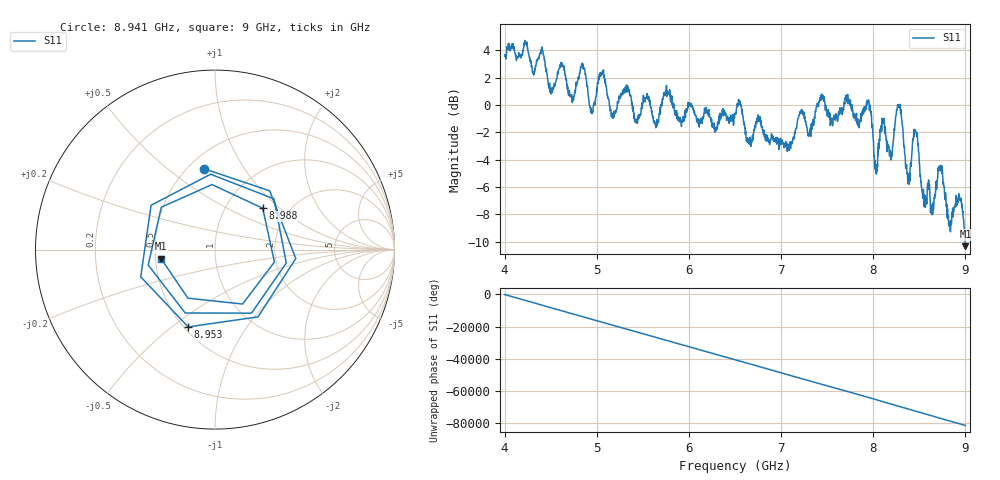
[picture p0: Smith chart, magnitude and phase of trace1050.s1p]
! Created with skrf 1.8.0 (http://scikit-rf.org).
# Hz S RI R 50.0
!freq ReS11 ImS11
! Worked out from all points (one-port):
!   1601 points, 4 GHz to 9 GHz, reference 50 ohm
!   lowest |S11| = -10.3 dB at 9 GHz (marker M1), VSWR 1.87, Z = 26.8 - j3 ohm
!   |S11| at or under -10 dB: 8.996344 GHz to end of sweep
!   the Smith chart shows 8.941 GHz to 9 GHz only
!   S11 on the Smith chart (normalised r, x): 8.941 GHz: 0.60, +0.68; 8.953 GHz: 0.53, -0.57; 8.988 GHz: 1.48, +0.78; 9 GHz: 0.54, -0.06
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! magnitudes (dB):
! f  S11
! 4 GHz  3.6
! 4.403 GHz  3.9
! 4.509 GHz  0.9
! 4.625 GHz  3.1
! 4.731 GHz  0.5
! 4.85 GHz  3.0
! 4.941 GHz  -0.4
! 5.05 GHz  2.2
! 5.162 GHz  -0.6
! 5.25 GHz  0.5
! 5.875 GHz  -0.6
! 6.5 GHz  -0.6
! 7.125 GHz  -2.7
! 7.75 GHz  0.3
! 7.953 GHz  0.3
! 8.031 GHz  -4.7
! 8.106 GHz  -1.1
! 8.197 GHz  -3.8
! 8.278 GHz  -0.2
! 8.375 GHz  -5.8
! 8.456 GHz  -1.8
! 8.556 GHz  -6.8
! 8.728 GHz  -4.8
! 8.828 GHz  -8.7
! 8.941 GHz  -6.9
! 8.953 GHz  -6.8
! 8.988 GHz  -9.1
! 9 GHz  -10.3
